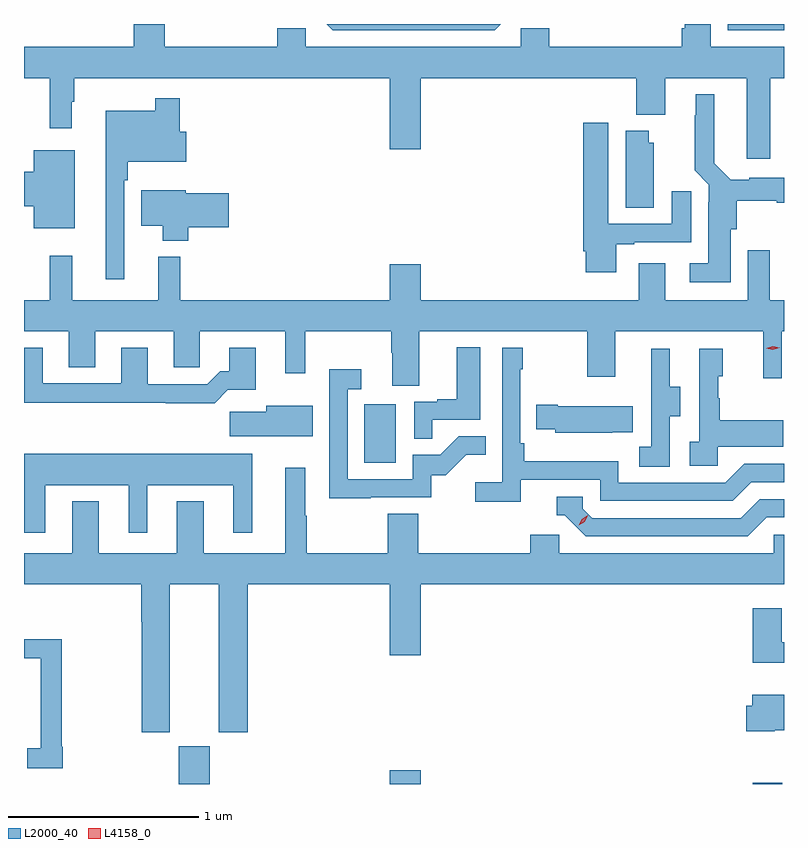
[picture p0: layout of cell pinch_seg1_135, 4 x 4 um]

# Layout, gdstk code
import gdstk
lib = gdstk.Library(unit=1e-6, precision=1e-09)
def R(c, l, rs):  # rectangles x0, y0, x1, y1
    for r in rs: c.add(gdstk.rectangle(r[:2], r[2:], *l))
def P(c, l, *ps):  # polygons
    for p in ps: c.add(gdstk.Polygon(p, *l))
L2000_40 = (2000, 40)
L4158_0 = (4158, 0)

pinch_seg1_135 = lib.new_cell('pinch_seg1_135')
R(pinch_seg1_135, L2000_40, [(1015.046,553.345,1015.21,553.545), (1016.156,553.345,1016.32,553.417), (1018.067,553.345,1018.223,553.352), (1016.024,555.036,1016.188,555.343), (1017.936,557.313,1018.232,557.345)])
P(pinch_seg1_135, L2000_40, [(1016.742,557.345),(1015.825,557.345),(1015.857,557.313),(1016.71,557.313)],
  [(1018.16,557.06),(1018.232,557.06),(1018.232,557.224),(1017.846,557.224),(1017.846,557.345),(1017.709,557.345),(1017.709,557.322),(1017.695,557.322),(1017.695,557.224),(1016.997,557.224),(1016.997,557.322),(1016.847,557.322),(1016.847,557.224),(1015.716,557.224),(1015.716,557.322),(1015.565,557.322),(1015.565,557.224),(1014.974,557.224),(1014.974,557.345),(1014.809,557.345),(1014.809,557.224),(1014.232,557.224),(1014.232,557.06),(1014.367,557.06),(1014.367,556.797),(1014.484,556.797),(1014.484,556.937),(1014.496,556.937),(1014.496,557.06),(1016.156,557.06),(1016.156,556.686),(1016.32,556.686),(1016.32,557.06),(1017.455,557.06),(1017.455,556.868),(1017.607,556.868),(1017.607,557.06),(1018.037,557.06),(1018.037,556.635),(1018.16,556.635)],
  [(1017.952,556.266),(1017.983,556.266),(1017.983,556.415),(1018.194,556.415),(1018.194,556.403),(1018.232,556.403),(1018.232,556.537),(1018.05,556.537),(1018.05,556.525),(1017.951,556.525),(1017.865,556.612),(1017.865,556.975),(1017.767,556.975),(1017.767,556.865),(1017.763,556.865),(1017.763,556.574),(1017.837,556.5),(1017.837,556.406),(1017.833,556.406),(1017.833,556.087),(1017.735,556.087),(1017.735,555.986),(1017.952,555.986)],
  [(1014.759,556.523),(1014.779,556.523),(1014.779,556.619),(1015.087,556.619),(1015.087,556.777),(1015.052,556.777),(1015.052,556.954),(1014.924,556.954),(1014.924,556.888),(1014.662,556.888),(1014.662,556.002),(1014.759,556.002)],
  [(1017.349,556.185),(1017.445,556.185),(1017.445,556.197),(1017.745,556.197),(1017.745,556.465),(1017.641,556.465),(1017.641,556.293),(1017.307,556.293),(1017.307,556.825),(1017.176,556.825),(1017.176,556.15),(1017.188,556.15),(1017.188,556.038),(1017.349,556.038)],
  [(1017.547,556.719),(1017.52,556.719),(1017.52,556.783),(1017.398,556.783),(1017.398,556.378),(1017.547,556.378)],
  [(1014.499,556.681),(1014.284,556.681),(1014.284,556.568),(1014.232,556.568),(1014.232,556.385),(1014.284,556.385),(1014.284,556.271),(1014.499,556.271)],
  [(1015.097,556.276),(1015.309,556.276),(1015.309,556.454),(1015.084,556.454),(1015.084,556.471),(1014.848,556.471),(1014.848,556.283),(1014.962,556.283),(1014.962,556.205),(1015.097,556.205)],
  [(1018.124,555.48),(1018.221,555.48),(1018.221,555.728),(1018.232,555.728),(1018.232,555.892),(1018.157,555.892),(1018.157,556.153),(1018.041,556.153),(1018.041,555.892),(1017.607,555.892),(1017.607,556.087),(1017.467,556.087),(1017.467,555.892),(1016.32,555.892),(1016.32,556.081),(1016.156,556.081),(1016.156,555.892),(1015.055,555.892),(1015.055,556.12),(1014.938,556.12),(1014.938,555.892),(1014.485,555.892),(1014.485,556.126),(1014.367,556.126),(1014.367,555.892),(1014.232,555.892),(1014.232,555.728),(1014.467,555.728),(1014.467,555.538),(1014.607,555.538),(1014.607,555.728),(1015.019,555.728),(1015.019,555.538),(1015.158,555.538),(1015.158,555.728),(1015.607,555.728),(1015.607,555.507),(1015.711,555.507),(1015.711,555.728),(1016.164,555.728),(1016.164,555.616),(1016.171,555.616),(1016.171,555.442),(1016.311,555.442),(1016.311,555.728),(1017.196,555.728),(1017.196,555.489),(1017.343,555.489),(1017.343,555.728),(1018.124,555.728)],
  [(1016.381,555.261),(1016.632,555.261),(1016.632,555.643),(1016.51,555.643),(1016.51,555.37),(1016.407,555.37),(1016.407,555.357),(1016.286,555.357),(1016.286,555.163),(1016.381,555.163)],
  [(1015.304,555.419),(1015.453,555.419),(1015.453,555.64),(1015.313,555.64),(1015.313,555.517),(1015.264,555.517),(1015.197,555.45),(1014.883,555.45),(1014.883,555.64),(1014.743,555.64),(1014.743,555.453),(1014.331,555.453),(1014.331,555.64),(1014.232,555.64),(1014.232,555.352),(1014.979,555.352),(1014.979,555.35),(1015.235,555.35)],
  [(1016.846,554.946),(1017.264,554.946),(1017.264,554.835),(1017.961,554.835),(1018.06,554.934),(1018.232,554.934),(1018.232,555.03),(1018.023,555.03),(1017.924,554.931),(1017.36,554.931),(1017.36,555.043),(1016.864,555.043),(1016.864,555.139),(1016.844,555.139),(1016.844,555.527),(1016.857,555.527),(1016.857,555.64),(1016.748,555.64),(1016.748,554.932),(1016.607,554.932),(1016.607,554.83),(1016.846,554.83)],
  [(1017.882,555.119),(1018.229,555.119),(1018.229,555.259),(1017.895,555.259),(1017.895,555.374),(1017.885,555.374),(1017.885,555.492),(1017.91,555.492),(1017.91,555.637),(1017.786,555.637),(1017.786,555.146),(1017.735,555.146),(1017.735,555.021),(1017.882,555.021)],
  [(1017.63,555.28),(1017.685,555.28),(1017.685,555.435),(1017.631,555.435),(1017.631,555.637),(1017.533,555.637),(1017.533,555.423),(1017.534,555.423),(1017.534,555.119),(1017.471,555.119),(1017.471,555.016),(1017.63,555.016)],
  [(1016.057,554.853),(1016.376,554.853),(1016.376,554.97),(1016.452,554.97),(1016.559,555.077),(1016.663,555.077),(1016.663,555.176),(1016.52,555.176),(1016.422,555.078),(1016.277,555.078),(1016.277,554.949),(1015.935,554.949),(1015.935,555.423),(1016.008,555.423),(1016.008,555.529),(1015.839,555.529),(1015.839,554.848),(1016.057,554.848)],
  [(1017.329,555.197),(1017.437,555.197),(1017.437,555.334),(1017.04,555.334),(1017.04,555.342),(1016.929,555.342),(1016.929,555.212),(1017.027,555.212),(1017.027,555.194),(1017.329,555.194)],
  [(1015.753,555.337),(1015.508,555.337),(1015.508,555.305),(1015.314,555.305),(1015.314,555.176),(1015.753,555.176)],
  [(1014.343,554.918),(1014.782,554.918),(1014.782,554.667),(1014.88,554.667),(1014.88,554.918),(1015.334,554.918),(1015.334,554.667),(1015.432,554.667),(1015.432,555.082),(1014.232,555.082),(1014.232,554.667),(1014.343,554.667)],
  [(1015,554.396),(1015.256,554.396),(1015.256,553.617),(1015.409,553.617),(1015.409,554.396),(1016.156,554.396),(1016.156,554.022),(1016.32,554.022),(1016.32,554.396),(1018.232,554.396),(1018.232,554.658),(1018.179,554.658),(1018.179,554.56),(1017.048,554.56),(1017.048,554.658),(1016.897,554.658),(1016.897,554.56),(1016.306,554.56),(1016.306,554.768),(1016.146,554.768),(1016.146,554.56),(1015.721,554.56),(1015.721,554.756),(1015.711,554.756),(1015.711,555.01),(1015.607,555.01),(1015.607,554.56),(1015.177,554.56),(1015.177,554.833),(1015.037,554.833),(1015.037,554.56),(1014.625,554.56),(1014.625,554.833),(1014.485,554.833),(1014.485,554.56),(1014.232,554.56),(1014.232,554.396),(1014.848,554.396),(1014.848,554.2),(1014.853,554.2),(1014.853,553.617),(1015,553.617)],
  [(1018.141,554.748),(1018.232,554.748),(1018.232,554.844),(1018.104,554.844),(1018.005,554.745),(1017.222,554.745),(1017.174,554.793),(1017.174,554.856),(1017.035,554.856),(1017.035,554.76),(1017.078,554.76),(1017.189,554.649),(1018.042,554.649)],
  [(1018.232,554.092),(1018.219,554.092),(1018.219,554.269),(1018.067,554.269),(1018.067,553.982),(1018.232,553.982)],
  [(1014.437,553.54),(1014.43,553.54),(1014.43,554.108),(1014.232,554.108),(1014.232,554.007),(1014.321,554.007),(1014.321,553.533),(1014.249,553.533),(1014.249,553.428),(1014.437,553.428)],
  [(1018.182,553.628),(1018.232,553.628),(1018.232,553.816),(1018.064,553.816),(1018.064,553.758),(1018.034,553.758),(1018.034,553.622),(1018.182,553.622)])
P(pinch_seg1_135, L4158_0, [(1018.174,555.63),(1018.139,555.639),(1018.138,555.639),(1018.139,555.639),(1018.174,555.65),(1018.209,555.641),(1018.209,555.641),(1018.209,555.64)],
  [(1017.151,554.706),(1017.151,554.707),(1017.167,554.739),(1017.198,554.759),(1017.198,554.759),(1017.198,554.758),(1017.182,554.726),(1017.152,554.706)])

lib.write_gds('pinch_seg1_135.gds')
